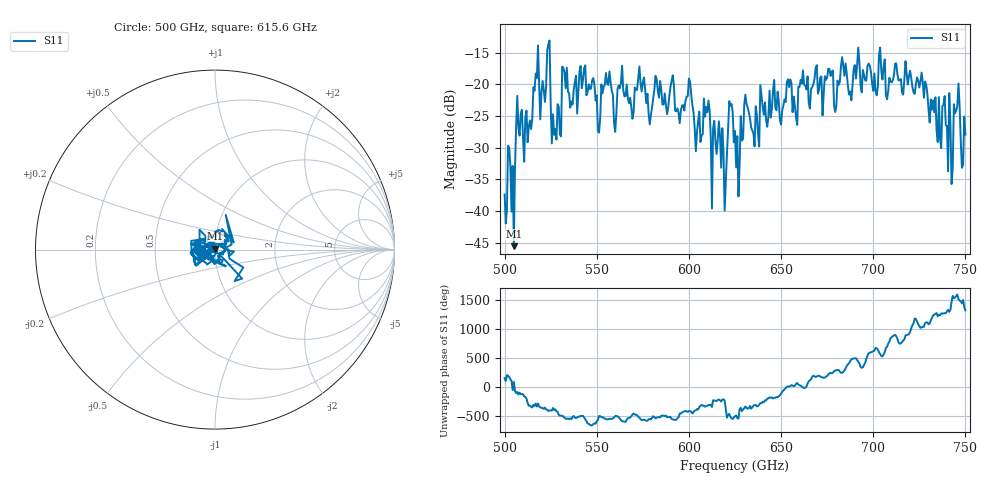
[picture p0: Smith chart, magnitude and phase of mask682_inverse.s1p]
!Created with skrf (http://scikit-rf.org).
# GHz S MA R 50.0
!freq magS11 angS11
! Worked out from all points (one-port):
!   401 points, 500 GHz to 750 GHz, reference 50 ohm
!   lowest |S11| = -45.5 dB at 505 GHz (marker M1), VSWR 1.01, Z = 50.1 + j0.525 ohm
!   |S11| at or under -10 dB: start of sweep to end of sweep
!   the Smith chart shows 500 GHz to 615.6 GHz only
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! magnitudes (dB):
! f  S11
! 500 GHz  -37.4
! 505 GHz  -45.5
! 507.5 GHz  -26.8
! 513.8 GHz  -25.7
! 516.9 GHz  -18.3
! 520.6 GHz  -19.5
! 523.8 GHz  -13.7
! 526.9 GHz  -28.0
! 531.2 GHz  -17.2
! 542.5 GHz  -19.4
! 550.6 GHz  -27.4
! 562.5 GHz  -20.7
! 593.8 GHz  -23.8
! 609.4 GHz  -23.6
! 618.8 GHz  -30.6
! 622.5 GHz  -23.4
! 625 GHz  -27.4
! 656.2 GHz  -24.4
! 676.9 GHz  -18.7
! 680 GHz  -23.3
! 683.8 GHz  -17.1
! 687.5 GHz  -21.2
! 718.8 GHz  -20.1
! 735.6 GHz  -22.0
! 738.8 GHz  -21.9
! 741.9 GHz  -26.2
! 745 GHz  -24.1
! 750 GHz  -27.9
